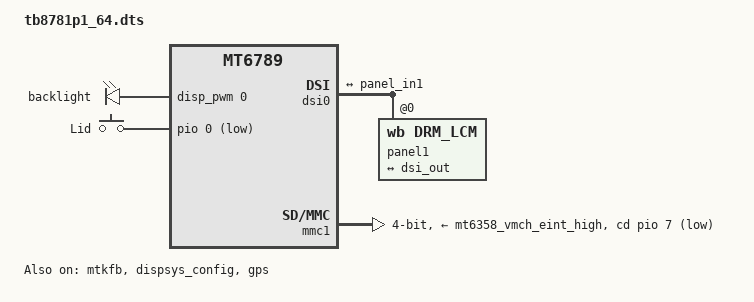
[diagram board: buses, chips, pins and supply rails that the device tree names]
// SPDX-License-Identifier: (GPL-2.0 OR MIT)
/*
 * Copyright (C) 2021 MediaTek Inc.
 */
/dts-v1/;
/plugin/;
#include <dt-bindings/interrupt-controller/arm-gic.h>
#include <dt-bindings/interrupt-controller/irq.h>
#include <dt-bindings/pinctrl/mt6789-pinfunc.h>
#include "mediatek/M201TBR100/cust_mt6789_camera.dtsi"
#include <dt-bindings/gpio/gpio.h>
#include <dt-bindings/input/input.h>
#include "mediatek/M201TBR100/mt6789_battery_prop.dtsi"
#include "mediatek/lcd/1_wb_lcd_panel_list.dtsi"

&chosen {
};

&android {
	hardware = "mt8781";
};

&mtk_leds {
	compatible = "mediatek,pwm-leds";

	backlight {
		led_mode = <5>;
		gate_enable = <1>;
        	pwms = <&disp_pwm 0 39385>;
		pwm_config = <0 1 0 0 0>;
	};
};

&pio {
	mtkfb_pins_lcd_bias_enp1: lcd_bias_enp1_gpio {
		pins_cmd_dat {
			pinmux = <PINMUX_GPIO38__FUNC_GPIO38>;
			slew-rate = <1>;
			output-high;
		};
	};

	mtkfb_pins_lcd_bias_enp0: lcd_bias_enp0_gpio {
		pins_cmd_dat {
			pinmux = <PINMUX_GPIO38__FUNC_GPIO38>;
			slew-rate = <1>;
			output-low;
		};
	};

	mtkfb_pins_lcd_bias_enn1: lcd_bias_enn1_gpio {
		pins_cmd_dat {
			pinmux = <PINMUX_GPIO39__FUNC_GPIO39>;
			slew-rate = <1>;
			output-high;
		};
	};

	mtkfb_pins_lcd_bias_enn0: lcd_bias_enn0_gpio {
		pins_cmd_dat {
			pinmux = <PINMUX_GPIO39__FUNC_GPIO39>;
			slew-rate = <1>;
			output-low;
		};
	};

	mtkfb_pins_lcm_led_en1: lcm_led_en1_gpio {
		pins_cmd_dat {
			pinmux = <PINMUX_GPIO95__FUNC_GPIO95>;
			slew-rate = <1>;
			output-high;
		};
	};

	mtkfb_pins_lcm_led_en0: lcm_led_en0_gpio {
		pins_cmd_dat {
			pinmux = <PINMUX_GPIO95__FUNC_GPIO95>;
			slew-rate = <1>;
			output-low;
		};
	};

	mtkfb_pins_lcm_rst_out1_gpio: lcm_rst_out1_gpio {
		pins_cmd_dat {
			pinmux = <PINMUX_GPIO85__FUNC_GPIO85>;
			slew-rate = <1>;
			output-high;
		};
	};

	mtkfb_pins_lcm_rst_out0_gpio: lcm_rst_out0_gpio {
		pins_cmd_dat {
			pinmux = <PINMUX_GPIO85__FUNC_GPIO85>;
			slew-rate = <1>;
			output-low;
		};
	};
	mtkfb_pins_lcm_dsi_te: lcm_dsi_te {
		pins_cmd_dat {
			pinmux = <PINMUX_GPIO83__FUNC_DSI_TE>;
		};
	};
	mtkfb_pins_lcd_pwr_1v8_en: lcd_pwr_1v8_en_gpio {
		pins_cmd_dat {
			pinmux = <PINMUX_GPIO52__FUNC_GPIO52>;
		};
	};
	mtkfb_pins_lcd_pwr_3v3_en: lcd_pwr_3v3_en_gpio {
		/*pins_cmd_dat {
			pinmux = <PINMUX_GPIO51__FUNC_GPIO51>;
		};*/
	};    

	mtkfb_pins_tp_rst_gpio: tp_rst_gpio {
		pins_cmd_dat {
			pinmux = <PINMUX_GPIO152__FUNC_GPIO152>;
		};
	};    
};

&mtkfb {
	pinctrl-names = "lcd_bias_enp1_gpio", "lcd_bias_enp0_gpio",
		"lcd_bias_enn1_gpio", "lcd_bias_enn0_gpio",
        	"lcm_led_en1_gpio", "lcm_led_en0_gpio",
		"lcm_rst_out1_gpio", "lcm_rst_out0_gpio",
		"mode_te_te","lcd_pwr_1v8_en_gpio","lcd_pwr_3v3_en_gpio",
        	"tp_rst_gpio";
	pinctrl-0 = <&mtkfb_pins_lcd_bias_enp1>;
	pinctrl-1 = <&mtkfb_pins_lcd_bias_enp0>;
	pinctrl-2 = <&mtkfb_pins_lcd_bias_enn1>;
	pinctrl-3 = <&mtkfb_pins_lcd_bias_enn0>;        
	pinctrl-4 = <&mtkfb_pins_lcm_led_en1>;
	pinctrl-5 = <&mtkfb_pins_lcm_led_en0>;
	pinctrl-6 = <&mtkfb_pins_lcm_rst_out1_gpio>;
	pinctrl-7 = <&mtkfb_pins_lcm_rst_out0_gpio>;
	pinctrl-8 = <&mtkfb_pins_lcm_dsi_te>;
	pinctrl-9 = <&mtkfb_pins_lcd_pwr_1v8_en>;
	pinctrl-10 = <&mtkfb_pins_lcd_pwr_3v3_en>;
	pinctrl-11 = <&mtkfb_pins_tp_rst_gpio>;
	status = "okay";
};

&dispsys_config {
	pinctrl-names =
		"lcm_rst_out1_gpio", "lcm_rst_out0_gpio",
		"mode_te_te";
	pinctrl-0 = <&mtkfb_pins_lcm_rst_out1_gpio>;
	pinctrl-1 = <&mtkfb_pins_lcm_rst_out0_gpio>;
	pinctrl-2 = <&mtkfb_pins_lcm_dsi_te>;
	status = "okay";
};

&dsi0 {
	status = "okay";
	#address-cells = <1>;
	#size-cells = <0>;
	panel1@0 {
		compatible = "wb,drm_lcm";
		reg = <0>;
		pinctrl-names = "default";
		//rotation = <90>;
		port {
			panel_in1: endpoint {
				remote-endpoint = <&dsi_out>;
			};
		};
	};
	
	ports {
		port {
			dsi_out: endpoint {
				remote-endpoint = <&panel_in1>;
			};
		};
	};
};

&odm {
	gpio_keys: gpio-keys{
		compatible = "gpio-keys";

		lid {
			label = "Lid";
			gpios = <&pio 0 GPIO_ACTIVE_LOW>;
			linux,code = <SW_LID>;
			linux,input-type = <EV_SW>;
			gpio-key,wakeup;
		};
	};
};

/* GPS GPIO standardization start */
&pio {
	gps_pins_default: gps_default {
	};
	gps_l1_lna_pins_ol: gps_l1_lna@0 {
		pins_cmd_dat {
			pinmux = <PINMUX_GPIO25__FUNC_GPIO25>;
			output-low;
		};
	};
	gps_l1_lna_pins_dsp_ctrl: gps_l1_lna@1 {
		pins_cmd_dat {
			pinmux = <PINMUX_GPIO25__FUNC_GPS_L1_ELNA_EN>;
		};
	};
	gps_l1_lna_pins_oh: gps_l1_lna@2 {
		pins_cmd_dat {
			pinmux = <PINMUX_GPIO25__FUNC_GPIO25>;
			output-high;
		};
	};
	gps_l5_lna_pins_ol: gps_l5_lna@0 {
		pins_cmd_dat {
			pinmux = <PINMUX_GPIO26__FUNC_GPIO26>;
			output-low;
		};
	};
	gps_l5_lna_pins_dsp_ctrl: gps_l5_lna@1 {
		pins_cmd_dat {
			pinmux = <PINMUX_GPIO26__FUNC_GPS_L5_ELNA_EN>;
		};
	};
	gps_l5_lna_pins_oh: gps_l5_lna@2 {
		pins_cmd_dat {
			pinmux = <PINMUX_GPIO26__FUNC_GPIO26>;
			output-high;
		};
	};
};

&cust_gpios {
	compatible = "cust,cust_gpios";
	gpio_it6112_en = <&pio 37 0>;
	gpio_bias_pos = <&pio 38 0>;
	gpio_bias_neg = <&pio 39 0>;
	gpio_bias_en = <&pio 95 0>;
	gpio_lcm_1v8 = <&pio 52 0>;
	/*gpio_lcm_3v3 = <&pio 51 0>;*/
	gpio_lcm_rst = <&pio 85 0>;
	gpio_tp_rst = <&pio 152 0>;

	/*gpio_typec_otg_en   = <&pio 40 0>;*/
	gpio_otg_5v_en      = <&pio 36 0>;
	gpio_docking_en     = <&pio 34 0>;
	gpio_usb_switch     = <&pio 41 0>;
	status = "okay";
};

&gps {
	pinctrl-names = "default",
		"gps_l1_lna_disable",
		"gps_l1_lna_dsp_ctrl",
		"gps_l1_lna_enable",
		"gps_l5_lna_disable",
		"gps_l5_lna_dsp_ctrl",
		"gps_l5_lna_enable";
	pinctrl-0 = <&gps_pins_default>;
	pinctrl-1 = <&gps_l1_lna_pins_ol>;
	pinctrl-2 = <&gps_l1_lna_pins_dsp_ctrl>;
	pinctrl-3 = <&gps_l1_lna_pins_oh>;
	pinctrl-4 = <&gps_l5_lna_pins_ol>;
	pinctrl-5 = <&gps_l5_lna_pins_dsp_ctrl>;
	pinctrl-6 = <&gps_l5_lna_pins_oh>;
	status = "okay";
};
/* GPS GPIO standardization end */

//#include "mediatek/cust_mt6789_touch_1080x2400.dtsi"
//#include "mediatek/cust_mt6789_camera_v4l2.dtsi"
#include "mediatek/M201TBR100/himax-common-spi.dtsi"

&i2c0 {
//        focaltech@38{ 
//            compatible = "focaltech,fts";	
//            reg = <0x38>;  					
//            interrupt-parent = <&pio>;			
//            interrupts = <9 IRQ_TYPE_EDGE_FALLING 9 0>;
//            focaltech,reset-gpio = <&pio 152 0>; 
//            focaltech,irq-gpio = <&pio 9 IRQ_TYPE_EDGE_FALLING>; 	
//            focaltech,max-touch-number = <10>;			
//            focaltech,display-coords =  <0 0 1200 2000>;	 
//		};    
};

&i2c1 {

};


&i2c3 {
	//it6112@56 {
	//	compatible = "ite,it6112";
	//	reg = <0x56>;                      
	//	status = "okay";
	//};
};
    
&i2c6 {
	//rt9465@4b {
	//        compatible = "richtek,rt9465";
	//        reg = <0x4b>;
	//        status = "okay";
	//        rt,en_gpio_num = <48>;
	//        rt,en_gpio = <&pio 48 0x0>;
	//        mt6306_en_pin = <1>;
	//        rt,intr_gpio_num = <12>; /* direct defined GPIO num */
	//        rt,intr_gpio = <&pio 12 0x0>;
	//        interrupt-names = "wdtmri";
	//        charger_name = "secondary_chg";
	//        ichg = <1500000>; /* uA */
	//        mivr = <4500000>; /* uV */
	//        cv = <4350000>; /* uV */
	//        ieoc = <700000>; /* uA */
	//        safety_timer = <12>; /* hour */
	//        en_st; /* safety timer */
	//        /* en_te; */
	//        en_wdt;
	//};
};

&leds{
//	red {
//		label = "red";
//		gpios = <&pio 99 0x0>;
//		default-state = "off";
//	};
//
//	green {
//		label = "green";
//		gpios = <&pio 98 0x0>;
//		default-state = "off";
//	};
//
//	blue {
//		label = "blue";
//		gpios = <&pio 5 0x0>;
//		default-state = "off";
//	};
};

&lk_charger{
	max_charger_voltage = <12000000>;
};

&charger{
    battery_cv = <4350000>;
    charger = <&sc8989x_chg>;
    max_charger_voltage = <12000000>;
};

&mtk_gauge {
	charger = <&sc8989x_chg>;
};

&extcon_usb {
	charger = <&sc8989x_chg>;
	id-gpios = <&pio 13 0x0>;
};

&accdet{
	/*1:ACC mode, 2:low cost without in bias, 6:low cost with in bias*/
	accdet-mic-mode = <1>;
	/* eint_level_trigger: 8,LEVEL_LOW(DEF) ;4,LV_HIGH;others,LV_LOW */
	headset-eint-level-pol = <8>;
};

&pe4 {
	status = "disabled";
};

&pe2 {
	status = "disabled";
};

&pe {
	status = "disabled";
};

&pdc {
	status = "disabled";
};


&mmc1 {
	host-index = <1>;
	status = "okay";
	pinctrl-names = "default", "state_uhs", "pull_down";
	pinctrl-0 = <&mmc1_pins_default>;
	pinctrl-1 = <&mmc1_pins_uhs>;
	pinctrl-2 = <&mmc1_pins_pull_down>;
	bus-width = <4>;
	max-frequency = <200000000>;
	ocr-voltage = <0x00030000>;
	cap-sd-highspeed;
	sd-uhs-sdr12;
	sd-uhs-sdr25;
	sd-uhs-sdr50;
	sd-uhs-sdr104;
	sd-uhs-ddr50;
	cd-debounce-delay-ms = <0>;
	cd-gpios = <&pio 7 GPIO_ACTIVE_LOW>;
	vmmc-supply = <&mt6358_vmch_eint_high>;
	vqmmc-supply = <&mt6358_vmc_reg>;
	no-mmc;
	dvfsrc-vcore-supply = <&dvfsrc_vcore>;
	req-vcore = <650000>;
};

&pio {
	mmc1_pins_default: mmc1default {
		pins_cmd_dat {
			pinmux = <PINMUX_GPIO73__FUNC_MSDC1_DAT0>,
				<PINMUX_GPIO74__FUNC_MSDC1_DAT1>,
				<PINMUX_GPIO75__FUNC_MSDC1_DAT2>,
				<PINMUX_GPIO76__FUNC_MSDC1_DAT3>,
				<PINMUX_GPIO72__FUNC_MSDC1_CMD>;
			input-enable;
			drive-strength = <3>;
			bias-pull-up = <MTK_PUPD_SET_R1R0_01>;
		};

		pins_clk {
			pinmux = <PINMUX_GPIO71__FUNC_MSDC1_CLK>;
			drive-strength = <3>;
			bias-pull-down = <MTK_PUPD_SET_R1R0_10>;
		};
	};
	mmc1_pins_uhs: mmc1@0{
		pins_cmd_dat {
			pinmux = <PINMUX_GPIO73__FUNC_MSDC1_DAT0>,
				<PINMUX_GPIO74__FUNC_MSDC1_DAT1>,
				<PINMUX_GPIO75__FUNC_MSDC1_DAT2>,
				<PINMUX_GPIO76__FUNC_MSDC1_DAT3>,
				<PINMUX_GPIO72__FUNC_MSDC1_CMD>;
			input-enable;
			drive-strength = <3>;
			bias-pull-up = <MTK_PUPD_SET_R1R0_01>;
		};

		pins_clk {
			pinmux = <PINMUX_GPIO71__FUNC_MSDC1_CLK>;
			drive-strength = <3>;
			bias-pull-down = <MTK_PUPD_SET_R1R0_10>;
		};
	};
	mmc1_pins_pull_down: mmc1@1 {
		pins_cmd_dat {
			pinmux = <PINMUX_GPIO73__FUNC_MSDC1_DAT0>,
				<PINMUX_GPIO74__FUNC_MSDC1_DAT1>,
				<PINMUX_GPIO75__FUNC_MSDC1_DAT2>,
				<PINMUX_GPIO76__FUNC_MSDC1_DAT3>,
				<PINMUX_GPIO72__FUNC_MSDC1_CMD>;
			input-enable;
			drive-strength = <3>;
			bias-pull-down = <MTK_PUPD_SET_R1R0_10>;
		};

		pins_clk {
			pinmux = <PINMUX_GPIO71__FUNC_MSDC1_CLK>;
			drive-strength = <3>;
			bias-pull-down = <MTK_PUPD_SET_R1R0_10>;
		};
	};

};

#include <tb8781p1_64/cust.dtsi>
/*End of this file, DO NOT ADD ANYTHING HERE*/
